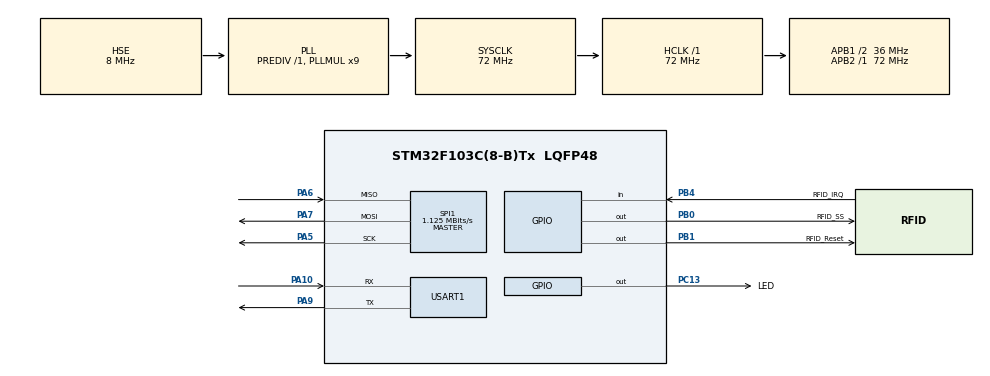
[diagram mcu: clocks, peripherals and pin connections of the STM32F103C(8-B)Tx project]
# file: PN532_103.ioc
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Mcu.Family=STM32F1
Mcu.Name=STM32F103C(8-B)Tx
Mcu.Package=LQFP48
NVIC.PriorityGroup=NVIC_PRIORITYGROUP_4
NVIC.TIM4_IRQn=true\:15\:0\:false\:false\:true\:false\:true\:true
NVIC.TimeBase=TIM4_IRQn
NVIC.TimeBaseIP=TIM4
PA10.Mode=Asynchronous
PA10.Signal=USART1_RX
PA13.Mode=Serial_Wire
PA13.Signal=SYS_JTMS-SWDIO
PA14.Mode=Serial_Wire
PA14.Signal=SYS_JTCK-SWCLK
PA5.Mode=Full_Duplex_Master
PA5.Signal=SPI1_SCK
PA6.Mode=Full_Duplex_Master
PA6.Signal=SPI1_MISO
PA7.Mode=Full_Duplex_Master
PA7.Signal=SPI1_MOSI
PA9.Mode=Asynchronous
PA9.Signal=USART1_TX
PB0.GPIO_Label=RFID_SS
PB0.GPIO_Speed=GPIO_SPEED_FREQ_HIGH
PB0.Signal=GPIO_Output
PB1.GPIO_Label=RFID_Reset
PB1.GPIO_Speed=GPIO_SPEED_FREQ_HIGH
PB1.Signal=GPIO_Output
PB4.GPIO_Label=RFID_IRQ
PB4.Signal=GPIO_Input
PC13-TAMPER-RTC.GPIO_Label=LED
PC13-TAMPER-RTC.GPIO_Speed=GPIO_SPEED_FREQ_HIGH
PC13-TAMPER-RTC.PinState=GPIO_PIN_SET
PC13-TAMPER-RTC.Signal=GPIO_Output
PD0-OSC_IN.Mode=HSE-External-Oscillator
PD0-OSC_IN.Signal=RCC_OSC_IN
PD1-OSC_OUT.Mode=HSE-External-Oscillator
PD1-OSC_OUT.Signal=RCC_OSC_OUT
ProjectManager.HeapSize=0x200
ProjectManager.StackSize=0x400
ProjectManager.TargetToolchain=STM32CubeIDE
RCC.AHBFreq_Value=72000000
RCC.APB1CLKDivider=RCC_HCLK_DIV2
RCC.APB1Freq_Value=36000000
RCC.APB1TimFreq_Value=72000000
RCC.APB2Freq_Value=72000000
RCC.APB2TimFreq_Value=72000000
RCC.HCLKFreq_Value=72000000
RCC.PLLMUL=RCC_PLL_MUL9
RCC.PLLSourceVirtual=RCC_PLLSOURCE_HSE
RCC.SYSCLKFreq_VALUE=72000000
RCC.SYSCLKSource=RCC_SYSCLKSOURCE_PLLCLK
RCC.USBFreq_Value=72000000
SPI1.BaudRatePrescaler=SPI_BAUDRATEPRESCALER_64
SPI1.CalculateBaudRate=1.125 MBits/s
SPI1.Direction=SPI_DIRECTION_2LINES
SPI1.FirstBit=SPI_FIRSTBIT_LSB
SPI1.Mode=SPI_MODE_MASTER
SPI1.VirtualType=VM_MASTER
USART1.VirtualMode=VM_ASYNC
VP_SYS_VS_tim4.Mode=TIM4
board=custom

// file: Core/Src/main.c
/* USER CODE BEGIN Header */
/**
  ******************************************************************************
  * @file           : main.c
  * @brief          : Main program body
  ******************************************************************************
  * @attention
  *
  * Copyright (c) 2024 STMicroelectronics.
  * All rights reserved.
  *
  * This software is licensed under terms that can be found in the LICENSE file
  * in the root directory of this software component.
  * If no LICENSE file comes with this software, it is provided AS-IS.
  *
  ******************************************************************************
  */
/* USER CODE END Header */
#include "main.h"

/* USER CODE BEGIN Includes */
#include "mylibrary.h"
#include "pn532_stm32f1.h"
#include "stdio.h"/* для printf */

#define use_HEXADECIMAL
/* USER CODE END Includes */

SPI_HandleTypeDef hspi1;

UART_HandleTypeDef huart1;

void SystemClock_Config(void);
static void MX_GPIO_Init(void);
static void MX_SPI1_Init(void);
static void MX_USART1_UART_Init(void);

/* USER CODE BEGIN 0 */
/* для printf */
#ifdef __GNUC__
/* With GCC/RAISONANCE, small printf (option LD Linker->Libraries->Small printf set to 'Yes') calls __io_putchar() */
#define PUTCHAR_PROTOTYPE int __io_putchar(int ch)
#else
#define PUTCHAR_PROTOTYPE int fputc(int ch, FILE *f)
#endif /* __GNUC__ */
/* USER CODE END 0 */

int main(void)
{

  /* MCU Configuration--------------------------------------------------------*/

  /* Reset of all peripherals, Initializes the Flash interface and the Systick. */
  HAL_Init();

  /* Configure the system clock */
  SystemClock_Config();

  /* Initialize all configured peripherals */
  MX_GPIO_Init();
  MX_SPI1_Init();
  MX_USART1_UART_Init();
  /* USER CODE BEGIN 2 */
  uint8_t buff[255];
  uint8_t uid[MIFARE_UID_MAX_LENGTH];
  int32_t uid_len = 0;

  PN532 pn532;
  PN532_SPI_Init(&pn532);
  if (PN532_GetFirmwareVersion(&pn532, buff) != PN532_STATUS_OK)
  {
    while(1)
    {
    	HAL_GPIO_WritePin(LED_GPIO_Port, LED_Pin, SET);
    	HAL_Delay(250);
    	HAL_GPIO_WritePin(LED_GPIO_Port, LED_Pin, RESET);
    	HAL_Delay(250);
    }
  }
  PN532_SamConfiguration(&pn532);
  /* USER CODE END 2 */

  /* Infinite loop */
  while (1)
  {

    /* USER CODE BEGIN 3 */
	  	memset(uid, 0, sizeof(uid));
		    uid_len = PN532_ReadPassiveTarget(&pn532, uid, PN532_MIFARE_ISO14443A, 1000);
		    if (uid_len != PN532_STATUS_ERROR)
		    {
		    	HAL_GPIO_WritePin(LED_GPIO_Port, LED_Pin, RESET);
		    	memset(buffer, 0, sizeof(buffer));
		    	char stringForHex[5];
		    	for(uint8_t i=0; i<uid_len; i++)
		    	{
		    		memset(stringForHex, 0, sizeof(stringForHex));
					#ifdef use_HEXADECIMAL
		    		sprintf(stringForHex, "%02X ", (unsigned char)uid[i]);
					#else
		    		sprintf(stringForHex, "%d ", (unsigned char)uid[i]);
					#endif
		    		strcat(buffer, stringForHex);
		    	}
		    	buffer[strlen(buffer)-1] = '\n';
		    	HAL_UART_Transmit(&huart1, (uint8_t*)buffer, strlen(buffer), 500);
		    	HAL_GPIO_WritePin(LED_GPIO_Port, LED_Pin, SET);
		    	HAL_Delay(1000);
		    }
  }
  /* USER CODE END 3 */
}

void SystemClock_Config(void)
{
  RCC_OscInitTypeDef RCC_OscInitStruct = {0};
  RCC_ClkInitTypeDef RCC_ClkInitStruct = {0};

  /** Initializes the RCC Oscillators according to the specified parameters
  * in the RCC_OscInitTypeDef structure.
  */
  RCC_OscInitStruct.OscillatorType = RCC_OSCILLATORTYPE_HSE;
  RCC_OscInitStruct.HSEState = RCC_HSE_ON;
  RCC_OscInitStruct.HSEPredivValue = RCC_HSE_PREDIV_DIV1;
  RCC_OscInitStruct.HSIState = RCC_HSI_ON;
  RCC_OscInitStruct.PLL.PLLState = RCC_PLL_ON;
  RCC_OscInitStruct.PLL.PLLSource = RCC_PLLSOURCE_HSE;
  RCC_OscInitStruct.PLL.PLLMUL = RCC_PLL_MUL9;
  if (HAL_RCC_OscConfig(&RCC_OscInitStruct) != HAL_OK)
  {
    Error_Handler();
  }

  /** Initializes the CPU, AHB and APB buses clocks
  */
  RCC_ClkInitStruct.ClockType = RCC_CLOCKTYPE_HCLK|RCC_CLOCKTYPE_SYSCLK
                              |RCC_CLOCKTYPE_PCLK1|RCC_CLOCKTYPE_PCLK2;
  RCC_ClkInitStruct.SYSCLKSource = RCC_SYSCLKSOURCE_PLLCLK;
  RCC_ClkInitStruct.AHBCLKDivider = RCC_SYSCLK_DIV1;
  RCC_ClkInitStruct.APB1CLKDivider = RCC_HCLK_DIV2;
  RCC_ClkInitStruct.APB2CLKDivider = RCC_HCLK_DIV1;

  if (HAL_RCC_ClockConfig(&RCC_ClkInitStruct, FLASH_LATENCY_2) != HAL_OK)
  {
    Error_Handler();
  }
}

static void MX_SPI1_Init(void)
{

  /* SPI1 parameter configuration*/
  hspi1.Instance = SPI1;
  hspi1.Init.Mode = SPI_MODE_MASTER;
  hspi1.Init.Direction = SPI_DIRECTION_2LINES;
  hspi1.Init.DataSize = SPI_DATASIZE_8BIT;
  hspi1.Init.CLKPolarity = SPI_POLARITY_LOW;
  hspi1.Init.CLKPhase = SPI_PHASE_1EDGE;
  hspi1.Init.NSS = SPI_NSS_SOFT;
  hspi1.Init.BaudRatePrescaler = SPI_BAUDRATEPRESCALER_64;
  hspi1.Init.FirstBit = SPI_FIRSTBIT_LSB;
  hspi1.Init.TIMode = SPI_TIMODE_DISABLE;
  hspi1.Init.CRCCalculation = SPI_CRCCALCULATION_DISABLE;
  hspi1.Init.CRCPolynomial = 10;
  if (HAL_SPI_Init(&hspi1) != HAL_OK)
  {
    Error_Handler();
  }

}

static void MX_USART1_UART_Init(void)
{

  huart1.Instance = USART1;
  huart1.Init.BaudRate = 115200;
  huart1.Init.WordLength = UART_WORDLENGTH_8B;
  huart1.Init.StopBits = UART_STOPBITS_1;
  huart1.Init.Parity = UART_PARITY_NONE;
  huart1.Init.Mode = UART_MODE_TX_RX;
  huart1.Init.HwFlowCtl = UART_HWCONTROL_NONE;
  huart1.Init.OverSampling = UART_OVERSAMPLING_16;
  if (HAL_UART_Init(&huart1) != HAL_OK)
  {
    Error_Handler();
  }

}

static void MX_GPIO_Init(void)
{
  GPIO_InitTypeDef GPIO_InitStruct = {0};

  /* GPIO Ports Clock Enable */
  __HAL_RCC_GPIOC_CLK_ENABLE();
  __HAL_RCC_GPIOD_CLK_ENABLE();
  __HAL_RCC_GPIOA_CLK_ENABLE();
  __HAL_RCC_GPIOB_CLK_ENABLE();

  /*Configure GPIO pin Output Level */
  HAL_GPIO_WritePin(LED_GPIO_Port, LED_Pin, GPIO_PIN_SET);

  /*Configure GPIO pin Output Level */
  HAL_GPIO_WritePin(GPIOB, RFID_SS_Pin|RFID_Reset_Pin, GPIO_PIN_RESET);

  /*Configure GPIO pin : LED_Pin */
  GPIO_InitStruct.Pin = LED_Pin;
  GPIO_InitStruct.Mode = GPIO_MODE_OUTPUT_PP;
  GPIO_InitStruct.Pull = GPIO_NOPULL;
  GPIO_InitStruct.Speed = GPIO_SPEED_FREQ_HIGH;
  HAL_GPIO_Init(LED_GPIO_Port, &GPIO_InitStruct);

  /*Configure GPIO pins : RFID_SS_Pin RFID_Reset_Pin */
  GPIO_InitStruct.Pin = RFID_SS_Pin|RFID_Reset_Pin;
  GPIO_InitStruct.Mode = GPIO_MODE_OUTPUT_PP;
  GPIO_InitStruct.Pull = GPIO_NOPULL;
  GPIO_InitStruct.Speed = GPIO_SPEED_FREQ_HIGH;
  HAL_GPIO_Init(GPIOB, &GPIO_InitStruct);

  /*Configure GPIO pin : RFID_IRQ_Pin */
  GPIO_InitStruct.Pin = RFID_IRQ_Pin;
  GPIO_InitStruct.Mode = GPIO_MODE_INPUT;
  GPIO_InitStruct.Pull = GPIO_NOPULL;
  HAL_GPIO_Init(RFID_IRQ_GPIO_Port, &GPIO_InitStruct);

}

/* USER CODE BEGIN 4 */
/* для printf */
PUTCHAR_PROTOTYPE
{
  /* Place your implementation of fputc here */
  /* e.g. write a character to the USART1 and Loop until the end of transmission */
  HAL_UART_Transmit(&huart1, (uint8_t *)&ch, 1, 0xFFFF);
  return ch;
}
/* USER CODE END 4 */

void HAL_TIM_PeriodElapsedCallback(TIM_HandleTypeDef *htim)
{
  if (htim->Instance == TIM4) {
    HAL_IncTick();
  }
}

void Error_Handler(void)
{
  __disable_irq();
  while (1)
  {
  }
}
